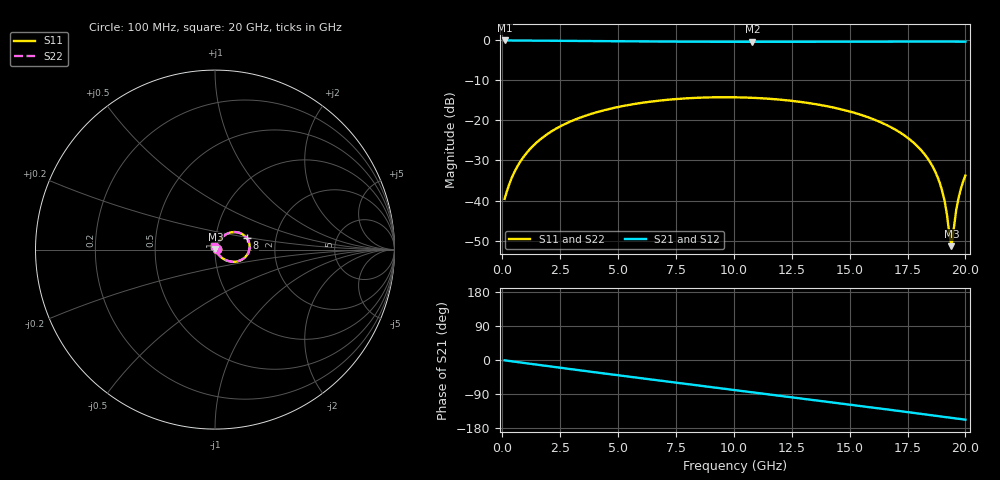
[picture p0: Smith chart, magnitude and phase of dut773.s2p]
! Touchstone file exported from HFSS 2026.1.0
!  File:  C:/ffzhzh/LocalFiles/Ansys_Project_Files/temp_train_TSV_RDL_773_1783209464_55132.aedt
!  Generated:  08:08:27 AM Jul  5, 2026
!  Design:  TSV_RDL
!  Project:  temp_train_TSV_RDL_773_1783209464_55132
! Variables:
!  h_bsmrdl = 3.52um
!  h_ox = 20um
!  h_rdl = 5um
!  h_sub = 77.66um
!  h_tmrdl = 4.97um
!  h_tsv = 77.66um
!  h_via = 3um
!  l_bsmrdl = 193.75um
!  l_sub = 2401.45um
!  l_tmrdl = 327.24um
!  m_sub = 200um
!  pitch = 33.16um
!  r_tsv = 11.79um
!  s_tmrdl = 10um
!  w_bsmrdl = 19.04um
!  w_sub = 500um
!  w_tmrdl = 18.04um
!  x_tsv_center1 = 336.26um
!  x_tsv_center2 = 549.05um
!  x_tsv_center3 = 894.33um
!  x_tsv_center4 = 1107.12um
!  x_tsv_center5 = 1452.4um
!  x_tsv_center6 = 1665.19um
# GHz S MA R 50.000000
! Terminal data exported
! Port[1] = TM_RDL1_1_T1
! Port[2] = TM_RDL5_1_T1
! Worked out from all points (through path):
!   200 points, 100 MHz to 20 GHz, reference 50 ohm
!   highest |S21| = -0.08 dB at 100 MHz (marker M1); lowest = -0.4 dB at 10.8 GHz (marker M2)
!   group delay of S21, straight-line fit = 21.7 ps
!   lowest |S11| = -51.4 dB at 19.4 GHz (marker M3), VSWR 1.01, Z = 50.2 + j0.138 ohm
!   |S11| at or under -10 dB: start of sweep to end of sweep
!   |S22| runs from -50.6 to -14.2 dB; largest |S21 - S12| = 1.1e-12
!   S11 on the Smith chart (normalised r, x): 100 MHz: 1.02, +0.01; 8 GHz: 1.42, +0.19; 20 GHz: 0.99, +0.04
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0.1  0.01051 23.4  0.9904 -0.9  0.9904 -0.9  0.01051 23.4
! Gamma 0 0 0 0
! Port Impedance 50 0 50 0
0.3  0.01598 45.5  0.9892 -2.6  0.9892 -2.6  0.01598 45.5
0.6  0.02504 57.0  0.9879 -5.0  0.9879 -5.0  0.02504 57.0
1.3  0.04719 62.9  0.9856 -10.7  0.9856 -10.7  0.04719 62.9
2.2  0.07514 60.3  0.9819 -18.0  0.9819 -18.0  0.07514 60.3
3.5  0.1118 52.4  0.9756 -28.5  0.9756 -28.5  0.1118 52.4
6.8  0.1765 28.7  0.9598 -54.3  0.9598 -54.3  0.1765 28.7
8  0.1885 19.9  0.9559 -63.5  0.9559 -63.5  0.1885 20.0
10.1  0.1938 4.6  0.9524 -79.6  0.9524 -79.6  0.1938 4.6
10.8  0.191 -0.6  0.9522 -85.0  0.9522 -85.0  0.191 -0.5
13.4  0.1615 -19.8  0.9544 -105.1  0.9544 -105.1  0.1615 -19.7
15.2  0.1243 -33.2  0.9573 -119.2  0.9573 -119.2  0.1243 -33.1
16.7  0.08457 -44.1  0.9591 -131.1  0.9591 -131.1  0.08456 -44.0
17.8  0.05154 -51.5  0.9596 -139.9  0.9596 -139.9  0.05154 -51.3
18.6  0.02609 -54.9  0.9592 -146.3  0.9592 -146.3  0.0261 -54.3
18.9  0.01638 -53.7  0.9589 -148.7  0.9589 -148.7  0.0164 -52.8
19.1  0.009942 -49.0  0.9587 -150.3  0.9587 -150.3  0.009992 -47.6
19.3  0.003993 -24.1  0.9584 -151.9  0.9584 -151.9  0.004151 -21.3
19.4  0.002703 30.6  0.9582 -152.7  0.9582 -152.7  0.002957 30.3
19.6  0.0075 90.5  0.9579 -154.3  0.9579 -154.3  0.007615 88.7
19.7  0.01068 96.1  0.9577 -155.1  0.9577 -155.1  0.01077 94.8
20  0.02052 100.8  0.957 -157.5  0.957 -157.5  0.02057 100.1
